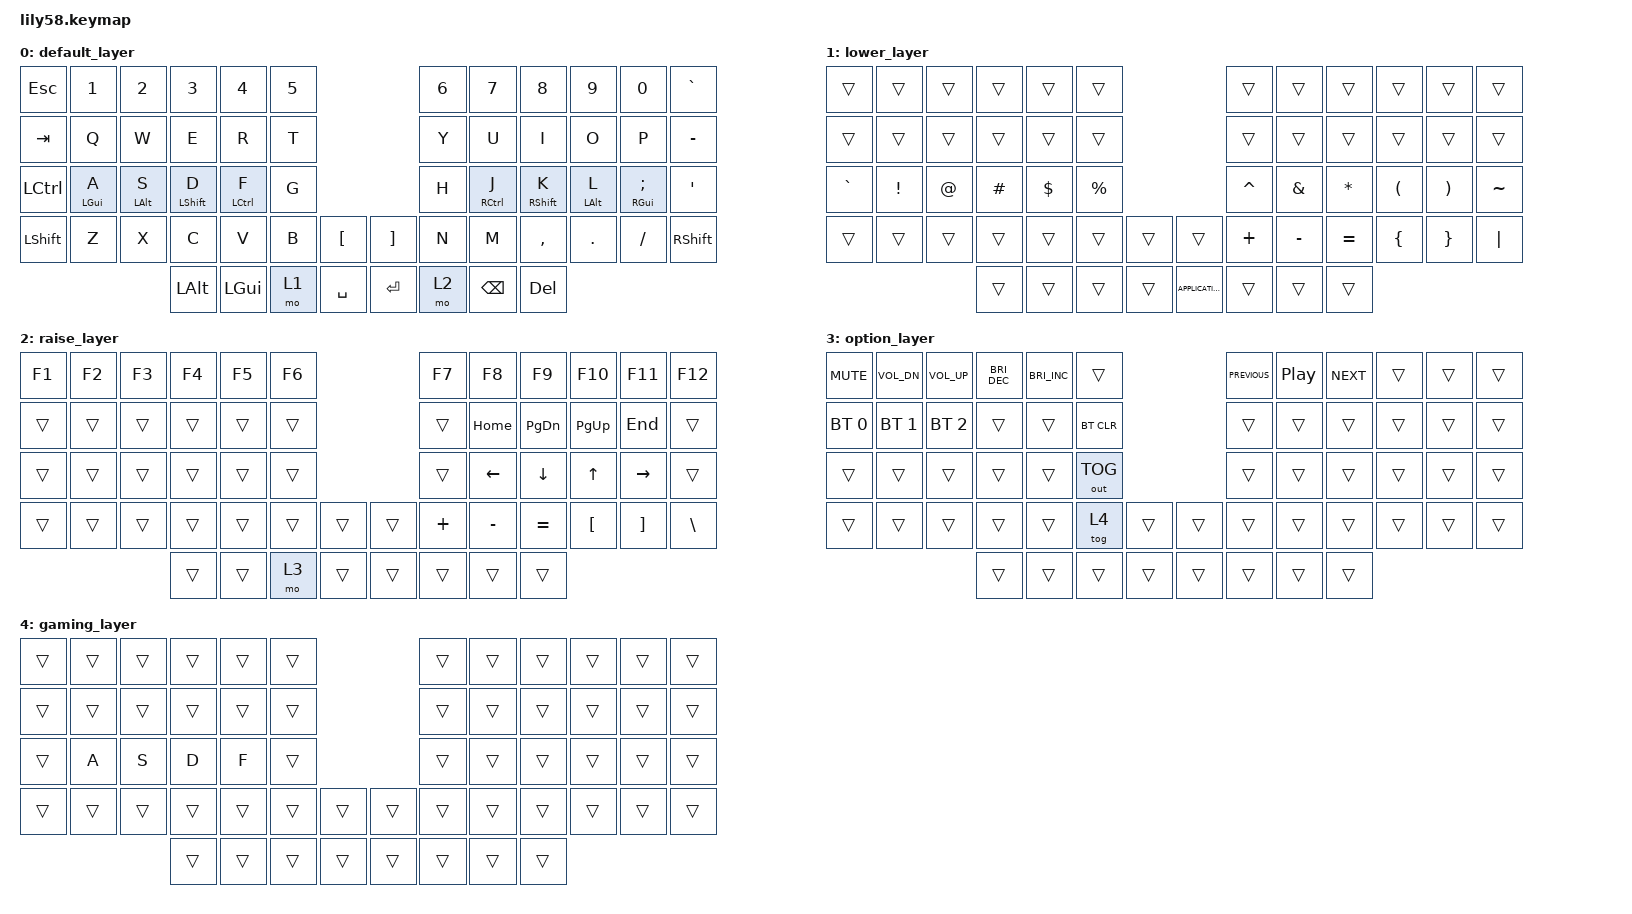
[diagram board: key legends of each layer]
/*
 * Copyright (c) 2020 The ZMK Contributors
 *
 * SPDX-License-Identifier: MIT
 */

#include <behaviors.dtsi>
#include <dt-bindings/zmk/bt.h>
#include <dt-bindings/zmk/keys.h>
#include <dt-bindings/zmk/outputs.h>

/ {
    combos {
        compatible = "zmk,combos";

        combo_esc {
            timeout-ms = <50>;
            key-positions = <0 1>;
            bindings = <&kp ESC>;
        };

        fff {
            bindings = <&tog 4>;
            key-positions = <52 55>;
            layers = <4>;
            timeout-ms = <0>;
        };
    };

    behaviors {
        ss_hs_modmorph: ss_hs_modmorph {
            compatible = "zmk,behavior-mod-morph";
            label = "SS_HS_MODMORPH";
            bindings = <&kp M>, <&kp RIGHT_BRACKET>;

            #binding-cells = <0>;
            mods = <(MOD_LSFT|MOD_RSFT)>;
        };

        kh_hs_tapdance: kh_hs_tapdance {
            compatible = "zmk,behavior-tap-dance";
            label = "KH_HS_TAPDANCE";
            #binding-cells = <0>;
            tapping-term-ms = <200>;
            bindings = <&kp LEFT_BRACKET>, <&kp RIGHT_BRACKET>;
        };

        hrm: hrm {
            compatible = "zmk,behavior-hold-tap";
            #binding-cells = <2>;
            flavor = "tap-preferred";
            tapping-term-ms = <150>;
            quick-tap-ms = <150>;
            require-prior-idle-ms = <100>;
            bindings = <&kp>, <&kp>;

            label = "hold tap preferred";
        };
    };

    keymap {
        compatible = "zmk,keymap";

        default_layer {
            // ------------------------------------------------------------------------------------------------------------
            // |  ESC  |  1  |  2  |  3   |  4   |  5   |                   |  6   |  7    |  8    |  9   |   0   |   `   |
            // |  TAB  |  Q  |  W  |  E   |  R   |  T   |                   |  Y   |  U    |  I    |  O   |   P   |   -   |
            // |  CTRL |  A  |  S  |  D   |  F   |  G   |                   |  H   |  J    |  K    |  L   |   ;   |   '   |
            // | SHIFT |  Z  |  X  |  C   |  V   |  B   |   "["  |  |  "]"  |  N   |  M    |  ,    |  .   |   /   | SHIFT |
            //                     | ALT  | GUI  | LOWER|  SPACE |  | ENTER | RAISE| BSPC  | GUI   |

            bindings = <
&kp ESC    &kp N1       &kp N2       &kp N3         &kp N4        &kp N5                         &kp N6  &kp N7        &kp N8         &kp N9       &kp N0          &kp GRAVE
&kp TAB    &kp Q        &kp W        &kp E          &kp R         &kp T                          &kp Y   &kp U         &kp I          &kp O        &kp P           &kp MINUS
&kp LCTRL  &hrm LGUI A  &hrm LALT S  &hrm LSHIFT D  &hrm LCTRL F  &kp G                          &kp H   &hrm RCTRL J  &hrm RSHIFT K  &hrm LALT L  &hrm RGUI SEMI  &kp SQT
&kp LSHFT  &kp Z        &kp X        &kp C          &kp V         &kp B   &kp LBKT     &kp RBKT  &kp N   &kp M         &kp COMMA      &kp DOT      &kp SLASH       &kp RSHFT
                                     &kp LALT       &kp LGUI      &mo 1   &kp SPACE    &kp RET   &mo 2   &kp BSPC      &kp DELETE
            >;
        };

        lower_layer {
            // ------------------------------------------------------------------------------------------------------------
            // | BTCLR | BT1 | BT2 |  BT3 |  BT4 |  BT5 |                   |      |       |       |      |       |       |
            // |  F1   |  F2 |  F3 |  F4  |  F5  |  F6  |                   |  F7  |  F8   |  F9   |  F10 |  F11  |  F12  |
            // |   `   |  !  |  @  |  #   |  $   |  %   |                   |  ^   |  &    |  *    |  (   |   )   |   ~   |
            // |       |     |     |      |      |      |        |  |       |      |  _    |  +    |  {   |   }   |  "|"  |
            //                     |      |      |      |        |  |       |      |       |       |

            bindings = <
&trans     &trans    &trans  &trans    &trans      &trans                                  &trans     &trans     &trans     &trans    &trans    &trans
&trans     &trans    &trans  &trans    &trans      &trans                                  &trans     &trans     &trans     &trans    &trans    &trans
&kp GRAVE  &kp EXCL  &kp AT  &kp HASH  &kp DOLLAR  &kp PRCNT                               &kp CARET  &kp AMPS   &kp ASTRK  &kp LPAR  &kp RPAR  &kp TILDE
&trans     &trans    &trans  &trans    &trans      &trans     &trans    &trans             &kp PLUS   &kp MINUS  &kp EQUAL  &kp LBRC  &kp RBRC  &kp PIPE
                             &trans    &trans      &trans     &trans    &kp K_APPLICATION  &trans     &trans     &trans
            >;
        };

        raise_layer {
            // ------------------------------------------------------------------------------------------------------------
            // |       |     |     |      |      |      |                   |      |       |       |      |       |       |
            // |   `   |  1  |  2  |  3   |  4   |  5   |                   |  6   |   7   |   8   |  9   |   0   |       |
            // |   F1  |  F2 |  F3 |  F4  |  F5  |  F6  |                   |      |   <-  |   v   |  ^   |  ->   |       |
            // |   F7  |  F8 |  F9 |  F10 |  F11 |  F12 |        |  |       |  +   |   -   |   =   |  [   |   ]   |   \   |
            //                     |      |      |      |        |  |       |      |       |       |

            bindings = <
&kp F1  &kp F2  &kp F3  &kp F4  &kp F5  &kp F6                    &kp F7    &kp F8     &kp F9         &kp F10      &kp F11    &kp F12
&trans  &trans  &trans  &trans  &trans  &trans                    &trans    &kp HOME   &kp PAGE_DOWN  &kp PAGE_UP  &kp END    &trans
&trans  &trans  &trans  &trans  &trans  &trans                    &trans    &kp LEFT   &kp DOWN       &kp UP       &kp RIGHT  &trans
&trans  &trans  &trans  &trans  &trans  &trans  &trans    &trans  &kp PLUS  &kp MINUS  &kp EQUAL      &kp LBKT     &kp RBKT   &kp BSLH
                        &trans  &trans  &mo 3   &trans    &trans  &trans    &trans     &trans
            >;
        };

        option_layer {
            bindings = <
&kp C_MUTE    &kp C_VOL_DN  &kp C_VOL_UP  &kp C_BRIGHTNESS_DEC  &kp C_BRIGHTNESS_INC  &trans                          &kp C_PREVIOUS  &kp C_PLAY_PAUSE  &kp C_NEXT  &trans  &trans  &trans
&bt BT_SEL 0  &bt BT_SEL 1  &bt BT_SEL 2  &trans                &trans                &bt BT_CLR                      &trans          &trans            &trans      &trans  &trans  &trans
&trans        &trans        &trans        &trans                &trans                &out OUT_TOG                    &trans          &trans            &trans      &trans  &trans  &trans
&trans        &trans        &trans        &trans                &trans                &tog 4        &trans    &trans  &trans          &trans            &trans      &trans  &trans  &trans
                                          &trans                &trans                &trans        &trans    &trans  &trans          &trans            &trans
            >;
        };

        gaming_layer {
            bindings = <
&trans  &trans  &trans  &trans  &trans  &trans                    &trans  &trans  &trans  &trans  &trans  &trans
&trans  &trans  &trans  &trans  &trans  &trans                    &trans  &trans  &trans  &trans  &trans  &trans
&trans  &kp A   &kp S   &kp D   &kp F   &trans                    &trans  &trans  &trans  &trans  &trans  &trans
&trans  &trans  &trans  &trans  &trans  &trans  &trans    &trans  &trans  &trans  &trans  &trans  &trans  &trans
                        &trans  &trans  &trans  &trans    &trans  &trans  &trans  &trans
            >;
        };
    };
};
